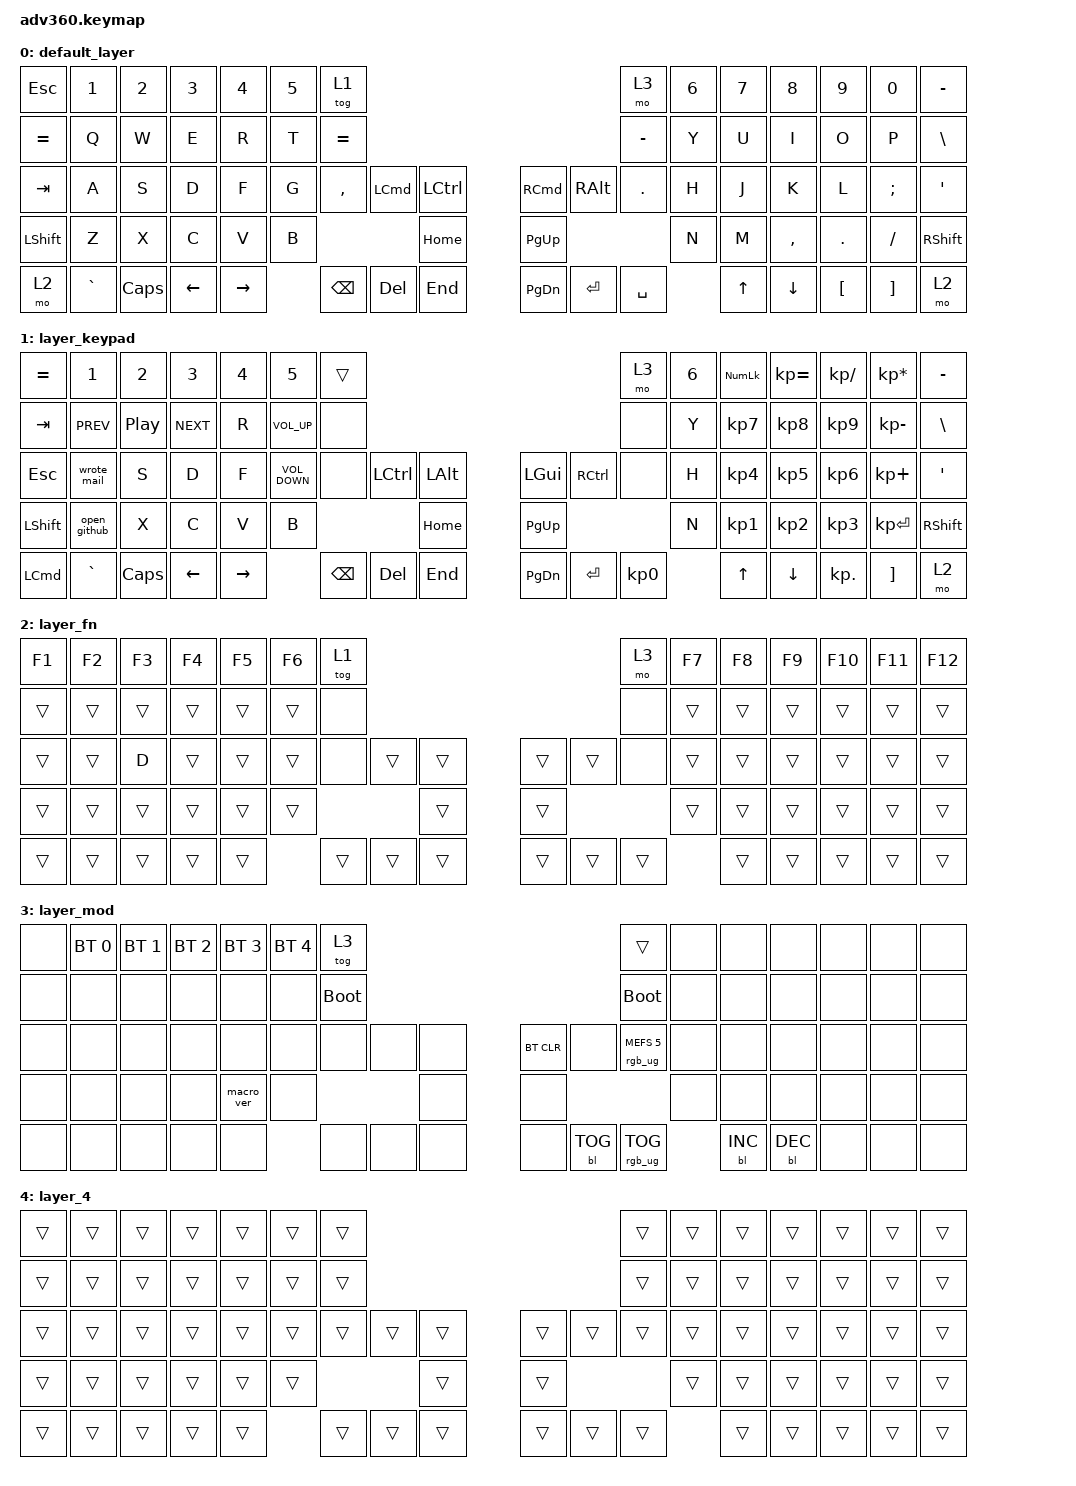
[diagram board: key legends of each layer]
/*
 * Copyright (c) 2020 The ZMK Contributors
 *
 * SPDX-License-Identifier: MIT
 */
/* THIS FILE WAS GENERATED!
 *
 * This file was generated automatically. You may or may not want to
 * edit it directly.
 */

#include <behaviors.dtsi>
#include <dt-bindings/zmk/backlight.h>
#include <dt-bindings/zmk/bt.h>
#include <dt-bindings/zmk/keys.h>
#include <dt-bindings/zmk/rgb.h>

/ {
    behaviors {
        #include "macros.dtsi"
    #include "version.dtsi"

        hm: homerow_mods {
            compatible = "zmk,behavior-hold-tap";
            label = "HOMEROW_MODS";
            #binding-cells = <2>;
            tapping-term-ms = <200>;
            quick_tap_ms = <175>;
            flavor = "tap-preferred";
            bindings = <&kp>, <&kp>;
        };
    };

    macros {
        wrote_mail: wrote_mail {
            compatible = "zmk,behavior-macro";
            #binding-cells = <0>;
            bindings = <&none &kp N &kp E &kp C &kp H &kp I &kp F &kp O &kp R &kp E &kp L &kp S &kp A &kp M &kp U &kp E &kp L &kp AT &kp G &kp M &kp A &kp I &kp L &kp DOT &kp C &kp O &kp M &to 0>;
            label = "WROTE_MAIL";
        };

        open_github: open_gitghub {
            compatible = "zmk,behavior-macro";
            #binding-cells = <0>;
            bindings = <&kp LG(T) &my_github_prof>;
            label = "OPEN_GITGHUB";
        };

        my_github_prof: my_github_prof {
            compatible = "zmk,behavior-macro";
            #binding-cells = <0>;
            bindings = <&none &kp H &kp T &kp T &kp P &kp S &kp COLON &kp FSLH &kp FSLH &kp G &kp I &kp T &kp H &kp U &kp B &kp DOT &kp C &kp O &kp M &kp FSLH &kp LS(N) &kp S &kp D &kp LS(H) &kp LS(S) &kp LS(O) &kp ENTER &to 0>;
            label = "MY_GITHUB_PROF";
        };
    };

    keymap {
        compatible = "zmk,keymap";

        default_layer {
            bindings = <
&kp ESC    &kp N1     &kp N2    &kp N3    &kp N4     &kp N5  &tog 1                                                                               &mo 3      &kp N6  &kp N7  &kp N8     &kp N9    &kp N0    &kp MINUS
&kp EQUAL  &kp Q      &kp W     &kp E     &kp R      &kp T   &kp EQUAL                                                                            &kp MINUS  &kp Y   &kp U   &kp I      &kp O     &kp P     &kp BSLH
&kp TAB    &kp A      &kp S     &kp D     &kp F      &kp G   &kp COMMA  &kp LEFT_COMMAND  &kp LEFT_CONTROL      &kp RIGHT_COMMAND  &kp RIGHT_ALT  &kp DOT    &kp H   &kp J   &kp K      &kp L     &kp SEMI  &kp SQT
&kp LSHFT  &kp Z      &kp X     &kp C     &kp V      &kp B                                &kp HOME              &kp PG_UP                                    &kp N   &kp M   &kp COMMA  &kp DOT   &kp FSLH  &kp RSHFT
&mo 2      &kp GRAVE  &kp CAPS  &kp LEFT  &kp RIGHT          &kp BSPC   &kp DEL           &kp END               &kp PG_DN          &kp ENTER      &kp SPACE          &kp UP  &kp DOWN   &kp LBKT  &kp RBKT  &mo 2
            >;
        };

        layer_keypad {
            bindings = <
&kp EQUAL         &kp N1        &kp N2            &kp N3      &kp N4     &kp N5             &trans                                                   &mo 3      &kp N6  &kp KP_NUM  &kp KP_EQUAL  &kp KP_DIVIDE  &kp KP_MULTIPLY  &kp MINUS
&kp TAB           &kp C_PREV    &kp C_PLAY_PAUSE  &kp C_NEXT  &kp R      &kp C_VOLUME_UP    &none                                                    &none      &kp Y   &kp KP_N7   &kp KP_N8     &kp KP_N9      &kp KP_MINUS     &kp BSLH
&kp ESC           &wrote_mail   &kp S             &kp D       &kp F      &kp C_VOLUME_DOWN  &none     &kp LCTRL  &kp LALT      &kp LGUI   &kp RCTRL  &none      &kp H   &kp KP_N4   &kp KP_N5     &kp KP_N6      &kp KP_PLUS      &kp SQT
&kp LSHFT         &open_github  &kp X             &kp C       &kp V      &kp B                                   &kp HOME      &kp PG_UP                        &kp N   &kp KP_N1   &kp KP_N2     &kp KP_N3      &kp KP_ENTER     &kp RSHFT
&kp LEFT_COMMAND  &kp GRAVE     &kp CAPS          &kp LEFT    &kp RIGHT                     &kp BSPC  &kp DEL    &kp END       &kp PG_DN  &kp ENTER  &kp KP_N0          &kp UP      &kp DOWN      &kp KP_DOT     &kp RBKT         &mo 2
            >;
        };

        layer_fn {
            bindings = <
&kp F1  &kp F2  &kp F3  &kp F4  &kp F5  &kp F6  &tog 1                                      &mo 3   &kp F7  &kp F8  &kp F9  &kp F10  &kp F11  &kp F12
&trans  &trans  &trans  &trans  &trans  &trans  &none                                       &none   &trans  &trans  &trans  &trans   &trans   &trans
&trans  &trans  &kp D   &trans  &trans  &trans  &none   &trans  &trans      &trans  &trans  &none   &trans  &trans  &trans  &trans   &trans   &trans
&trans  &trans  &trans  &trans  &trans  &trans                  &trans      &trans                  &trans  &trans  &trans  &trans   &trans   &trans
&trans  &trans  &trans  &trans  &trans          &trans  &trans  &trans      &trans  &trans  &trans          &trans  &trans  &trans   &trans   &trans
            >;
        };

        layer_mod {
            bindings = <
&none  &bt BT_SEL 0  &bt BT_SEL 1  &bt BT_SEL 2  &bt BT_SEL 3  &bt BT_SEL 4  &tog 3                                                 &trans                  &none  &none       &none       &none  &none  &none
&none  &none         &none         &none         &none         &none         &bootloader                                            &bootloader             &none  &none       &none       &none  &none  &none
&none  &none         &none         &none         &none         &none         &none        &none  &none      &bt BT_CLR  &none       &rgb_ug RGB_MEFS_CMD 5  &none  &none       &none       &none  &none  &none
&none  &none         &none         &none         &macro_ver    &none                             &none      &none                                           &none  &none       &none       &none  &none  &none
&none  &none         &none         &none         &none                       &none        &none  &none      &none       &bl BL_TOG  &rgb_ug RGB_TOG                &bl BL_INC  &bl BL_DEC  &none  &none  &none
            >;
        };

        layer_4 {
            bindings = <
&trans  &trans  &trans  &trans  &trans  &trans  &trans                                      &trans  &trans  &trans  &trans  &trans  &trans  &trans
&trans  &trans  &trans  &trans  &trans  &trans  &trans                                      &trans  &trans  &trans  &trans  &trans  &trans  &trans
&trans  &trans  &trans  &trans  &trans  &trans  &trans  &trans  &trans      &trans  &trans  &trans  &trans  &trans  &trans  &trans  &trans  &trans
&trans  &trans  &trans  &trans  &trans  &trans                  &trans      &trans                  &trans  &trans  &trans  &trans  &trans  &trans
&trans  &trans  &trans  &trans  &trans          &trans  &trans  &trans      &trans  &trans  &trans          &trans  &trans  &trans  &trans  &trans
            >;
        };
    };
};
